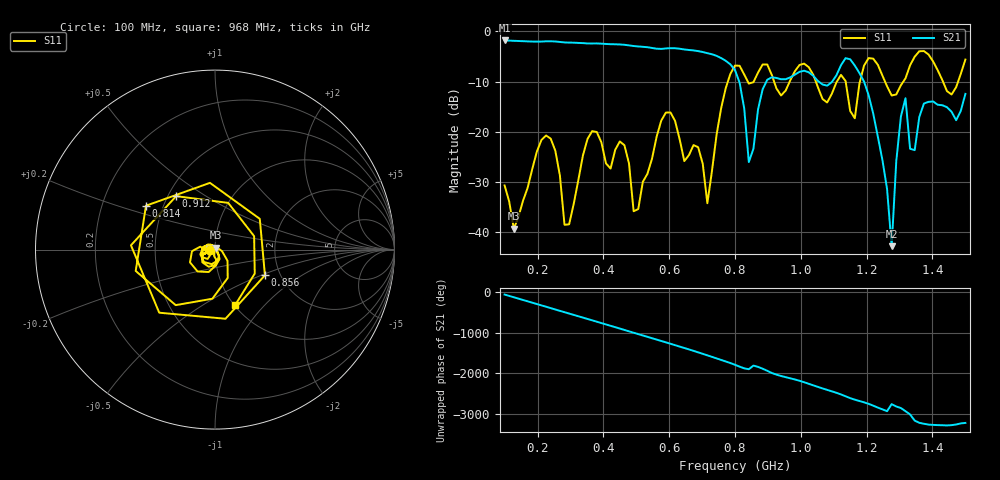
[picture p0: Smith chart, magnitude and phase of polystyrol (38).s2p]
! NanoVNA-App
! Date: 2025-09-26 09:42:10
! Start: 100MHz Stop: 1,5GHz Points: 101
! S-Parameter data: F S11 S21 S12 S22
# Hz S RI R 50
!  Frequency  S11_Real  S11_Imag  S21_Real  S21_Imag  S12_Real  S12_Imag  S22_Real  S22_Imag
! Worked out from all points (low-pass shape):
!   101 points, 100 MHz to 1.5 GHz, reference 50 ohm
!   highest |S21| = -1.79 dB at 100 MHz (marker M1); lowest = -42.7 dB at 1.276 GHz (marker M2)
!   |S21| within 3 dB of the highest: start of sweep to 741.3 MHz
!   lowest |S11| = -39.3 dB at 128 MHz (marker M3), VSWR 1.02, Z = 50.3 + j1.05 ohm
!   |S11| at or under -10 dB: start of sweep to 778.2 MHz; 1.046 GHz to 1.109 GHz (63.69 MHz wide, 5.91 % of centre); 1.256 GHz to 1.311 GHz (55.23 MHz wide, 4.3 % of centre) (the widest 3 of 7)
!   S12 and S22 are empty: the file has one direction only
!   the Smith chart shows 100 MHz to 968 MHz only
!   S11 on the Smith chart (normalised r, x): 100 MHz: 0.94, -0.01; 814 MHz: 0.40, +0.25; 856 MHz: 1.67, -0.53; 912 MHz: 0.55, +0.38; 968 MHz: 1.02, -0.70
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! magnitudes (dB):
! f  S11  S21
! 100 MHz  -30.7  -1.8
! 128 MHz  -39.3  -1.9
! 212 MHz  -21.6  -2.0
! 254 MHz  -23.7  -2.0
! 282 MHz  -38.5  -2.2
! 338 MHz  -24.7  -2.3
! 464 MHz  -22.6  -2.6
! 492 MHz  -35.8  -2.9
! 576 MHz  -17.7  -3.5
! 716 MHz  -34.2  -4.3
! 800 MHz  -6.8  -7.7
! 814 MHz  -6.8  -10.2
! 856 MHz  -10.1  -23.4
! 912 MHz  -8.7  -9.1
! 968 MHz  -9.7  -9.1
! 1.038 GHz  -8.6  -8.8
! 1.164 GHz  -17.3  -6.8
! 1.192 GHz  -6.8  -10.0
! 1.276 GHz  -12.7  -42.7
! 1.318 GHz  -9.3  -13.3
! 1.346 GHz  -5.0  -23.6
! 1.5 GHz  -5.6  -12.4
